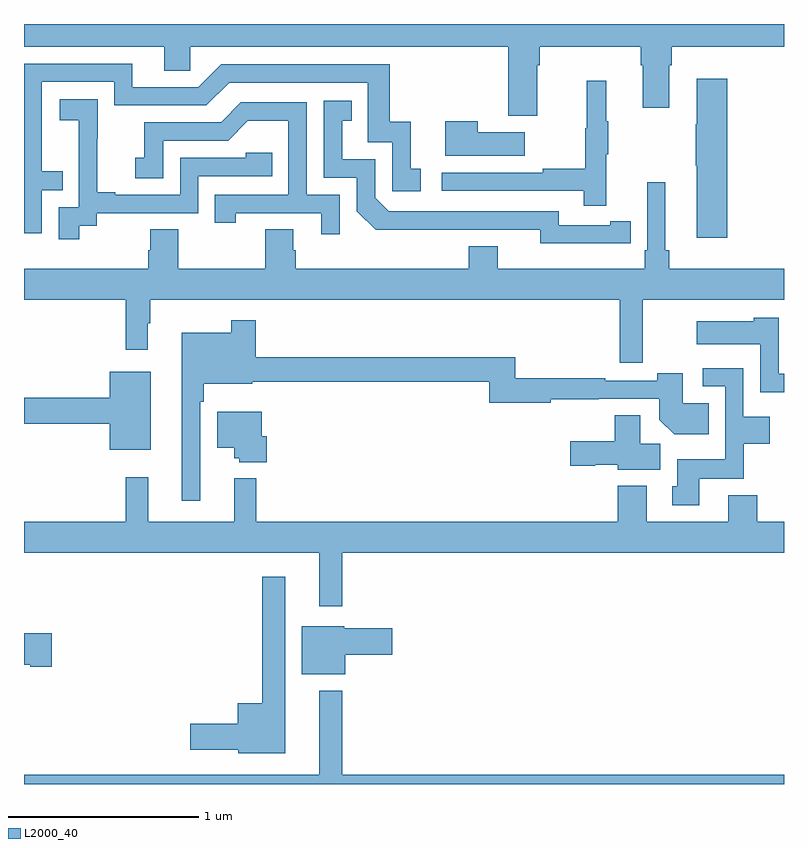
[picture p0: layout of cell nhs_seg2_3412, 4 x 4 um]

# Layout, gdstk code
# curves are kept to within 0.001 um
import gdstk
lib = gdstk.Library(unit=1e-6, precision=1e-09)
def P(c, l, *ps):  # polygons
    for p in ps: c.add(gdstk.Polygon(p, *l))
L2000_40 = (2000, 40)

nhs_seg2_3412 = lib.new_cell('nhs_seg2_3412')
P(nhs_seg2_3412, L2000_40, [(293.701,603.584),(293.714,603.584),(293.714,603.68),(294.245,603.68),(294.245,603.584),(294.257,603.584),(294.257,603.36),(294.397,603.36),(294.397,603.584),(294.41,603.584),(294.41,603.68),(295,603.68),(295,603.8),(291,603.8),(291,603.68),(291.737,603.68),(291.737,603.553),(291.876,603.553),(291.876,603.68),(293.549,603.68),(293.549,603.318),(293.701,603.318)],
  [(291.093,602.925),(291.203,602.925),(291.203,603.026),(291.093,603.026),(291.093,603.495),(291.474,603.495),(291.474,603.372),(291.96,603.372),(292.08,603.492),(292.809,603.492),(292.809,603.177),(292.938,603.177),(292.938,602.919),(293.089,602.919),(293.089,603.039),(293.036,603.039),(293.036,603.286),(292.925,603.286),(292.925,603.588),(292.038,603.588),(291.918,603.468),(291.571,603.468),(291.571,603.591),(291,603.591),(291,602.7),(291.093,602.7)],
  [(294.701,603.511),(294.542,603.511),(294.542,603.272),(294.535,603.272),(294.535,603.055),(294.542,603.055),(294.542,602.676),(294.701,602.676)],
  [(294.065,603.115),(294.076,603.115),(294.076,603.289),(294.065,603.289),(294.065,603.502),(293.962,603.502),(293.962,603.252),(293.955,603.252),(293.955,603.038),(293.731,603.038),(293.731,603.018),(293.199,603.018),(293.199,602.922),(293.947,602.922),(293.947,602.844),(294.065,602.844)],
  [(291.292,602.737),(291.384,602.737),(291.384,602.805),(291.918,602.805),(291.918,603),(292.307,603),(292.307,603.123),(292.167,603.123),(292.167,603.096),(291.822,603.096),(291.822,602.901),(291.481,602.901),(291.481,602.914),(291.386,602.914),(291.386,603.197),(291.387,603.197),(291.387,603.403),(291.189,603.403),(291.189,603.293),(291.287,603.293),(291.287,603.065),(291.288,603.065),(291.288,602.835),(291.183,602.835),(291.183,602.667),(291.292,602.667)],
  [(294.086,602.646),(294.194,602.646),(294.194,602.762),(294.086,602.762),(294.086,602.742),(293.814,602.742),(293.814,602.814),(292.92,602.814),(292.848,602.886),(292.848,603.087),(292.675,603.087),(292.675,603.291),(292.724,603.291),(292.724,603.397),(292.578,603.397),(292.578,602.991),(292.752,602.991),(292.752,602.814),(292.85,602.717),(293.718,602.718),(293.718,602.645)],
  [(292.662,602.901),(292.488,602.901),(292.488,603.387),(292.142,603.387),(292.037,603.282),(291.634,603.282),(291.634,603.097),(291.585,603.097),(291.585,602.988),(291.732,602.988),(291.732,603.186),(292.074,603.186),(292.178,603.29),(292.392,603.29),(292.392,602.901),(292.003,602.901),(292.003,602.754),(292.114,602.754),(292.114,602.805),(292.565,602.805),(292.565,602.694),(292.662,602.694)],
  [(293.635,603.229),(293.387,603.229),(293.387,603.289),(293.216,603.289),(293.216,603.107),(293.635,603.107)],
  [(295,602.512),(294.395,602.512),(294.395,602.608),(294.376,602.608),(294.376,602.968),(294.279,602.968),(294.279,602.608),(294.266,602.608),(294.266,602.512),(293.494,602.512),(293.494,602.629),(293.342,602.629),(293.342,602.512),(292.43,602.512),(292.43,602.61),(292.417,602.61),(292.417,602.72),(292.27,602.72),(292.27,602.512),(291.813,602.512),(291.813,602.72),(291.665,602.72),(291.665,602.61),(291.653,602.61),(291.653,602.512),(291,602.512),(291,602.348),(291.535,602.348),(291.535,602.085),(291.652,602.085),(291.652,602.225),(291.664,602.225),(291.664,602.348),(294.136,602.348),(294.136,602.016),(294.257,602.016),(294.257,602.348),(295,602.348)],
  [(295,601.959),(294.972,601.959),(294.972,602.254),(294.84,602.254),(294.84,602.236),(294.54,602.236),(294.54,602.114),(294.876,602.114),(294.876,601.862),(295,601.862)],
  [(291.927,601.811),(291.947,601.811),(291.947,601.907),(292.201,601.907),(292.201,601.918),(293.449,601.918),(293.449,601.807),(293.772,601.807),(293.772,601.825),(294.026,601.825),(294.026,601.827),(294.344,601.827),(294.344,601.718),(294.422,601.64),(294.605,601.64),(294.605,601.804),(294.466,601.804),(294.466,601.962),(294.332,601.962),(294.332,601.923),(294.059,601.923),(294.059,601.936),(293.585,601.936),(293.585,602.047),(292.22,602.047),(292.22,602.242),(292.092,602.242),(292.092,602.176),(291.83,602.176),(291.83,601.29),(291.927,601.29)],
  [(294.553,601.406),(294.789,601.406),(294.789,601.592),(294.925,601.592),(294.925,601.732),(294.786,601.732),(294.786,601.989),(294.573,601.989),(294.573,601.893),(294.69,601.893),(294.69,601.51),(294.437,601.51),(294.437,601.368),(294.413,601.368),(294.413,601.266),(294.553,601.266)],
  [(291.667,601.969),(291.452,601.969),(291.452,601.832),(291,601.832),(291,601.696),(291.452,601.696),(291.452,601.559),(291.667,601.559)],
  [(292.277,601.629),(292.252,601.629),(292.252,601.759),(292.016,601.759),(292.016,601.571),(292.106,601.571),(292.106,601.515),(292.134,601.515),(292.134,601.493),(292.277,601.493)],
  [(294.349,601.592),(294.244,601.592),(294.244,601.741),(294.11,601.741),(294.11,601.603),(293.874,601.603),(293.874,601.474),(294.006,601.474),(294.006,601.481),(294.126,601.481),(294.126,601.454),(294.349,601.454)],
  [(292.675,601.016),(295,601.016),(295,601.18),(294.86,601.18),(294.86,601.321),(294.707,601.321),(294.707,601.18),(294.277,601.18),(294.277,601.369),(294.125,601.369),(294.125,601.18),(292.223,601.18),(292.223,601.408),(292.106,601.408),(292.106,601.18),(291.653,601.18),(291.653,601.414),(291.535,601.414),(291.535,601.18),(291,601.18),(291,601.016),(292.553,601.016),(292.553,600.735),(292.675,600.735)],
  [(292.375,600.892),(292.254,600.892),(292.254,600.226),(292.124,600.226),(292.124,600.116),(291.876,600.116),(291.876,599.981),(292.128,599.981),(292.128,599.963),(292.375,599.963)],
  [(292.69,600.479),(292.939,600.479),(292.939,600.621),(292.686,600.621),(292.686,600.631),(292.463,600.631),(292.463,600.377),(292.69,600.377)],
  [(291.145,600.594),(291,600.594),(291,600.428),(291.032,600.428),(291.032,600.416),(291.145,600.416)],
  [(295,599.848),(292.675,599.848),(292.675,600.292),(292.553,600.292),(292.553,599.848),(291,599.848),(291,599.8),(295,599.8)])

lib.write_gds('nhs_seg2_3412.gds')
